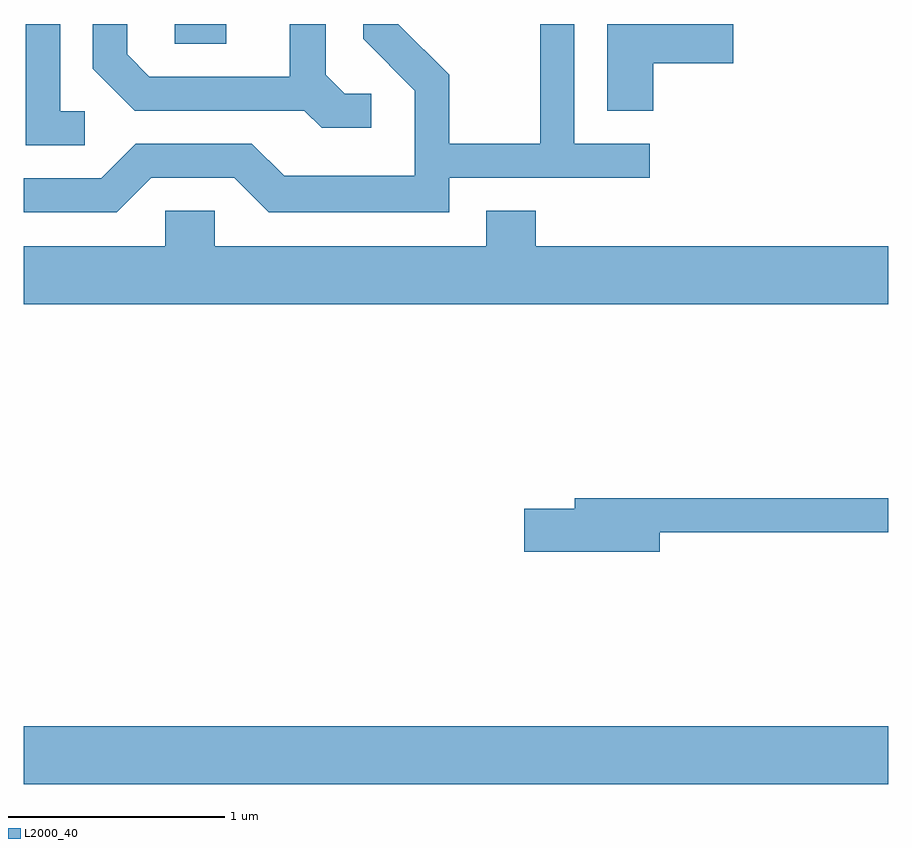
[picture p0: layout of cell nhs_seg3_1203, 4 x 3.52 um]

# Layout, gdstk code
import gdstk
lib = gdstk.Library(unit=1e-6, precision=1e-09)
def R(c, l, rs):  # rectangles x0, y0, x1, y1
    for r in rs: c.add(gdstk.rectangle(r[:2], r[2:], *l))
def P(c, l, *ps):  # polygons
    for p in ps: c.add(gdstk.Polygon(p, *l))
L2000_40 = (2000, 40)

nhs_seg3_1203 = lib.new_cell('nhs_seg3_1203')
R(nhs_seg3_1203, L2000_40, [(219.611,1210.376,223.611,1210.644), (220.311,1213.801,220.549,1213.892)])
P(nhs_seg3_1203, L2000_40, [(221.218,1213.569),(221.097,1213.569),(221.009,1213.657),(221.009,1213.892),(220.841,1213.892),(220.841,1213.649),(220.192,1213.649),(220.089,1213.752),(220.089,1213.892),(219.931,1213.892),(219.931,1213.684),(220.124,1213.491),(220.909,1213.491),(220.989,1213.411),(221.218,1213.411)],
  [(220.202,1213.181),(220.584,1213.181),(220.744,1213.021),(221.579,1213.021),(221.579,1213.181),(222.508,1213.181),(222.508,1213.339),(222.159,1213.339),(222.159,1213.892),(222.001,1213.892),(222.001,1213.339),(221.579,1213.339),(221.579,1213.657),(221.344,1213.892),(221.181,1213.892),(221.181,1213.824),(221.421,1213.584),(221.421,1213.189),(220.817,1213.189),(220.667,1213.339),(220.129,1213.339),(219.969,1213.179),(219.611,1213.179),(219.611,1213.021),(220.042,1213.021)],
  [(219.893,1213.489),(219.779,1213.489),(219.779,1213.892),(219.621,1213.892),(219.621,1213.331),(219.893,1213.331)],
  [(222.524,1213.711),(222.894,1213.711),(222.894,1213.892),(222.311,1213.892),(222.311,1213.491),(222.524,1213.491)],
  [(223.611,1212.864),(221.979,1212.864),(221.979,1213.029),(221.751,1213.029),(221.751,1212.864),(220.494,1212.864),(220.494,1213.029),(220.266,1213.029),(220.266,1212.864),(219.611,1212.864),(219.611,1212.596),(223.611,1212.596)],
  [(222.554,1211.541),(223.611,1211.541),(223.611,1211.699),(222.161,1211.699),(222.161,1211.649),(221.926,1211.649),(221.926,1211.451),(222.554,1211.451)])

lib.write_gds('nhs_seg3_1203.gds')
